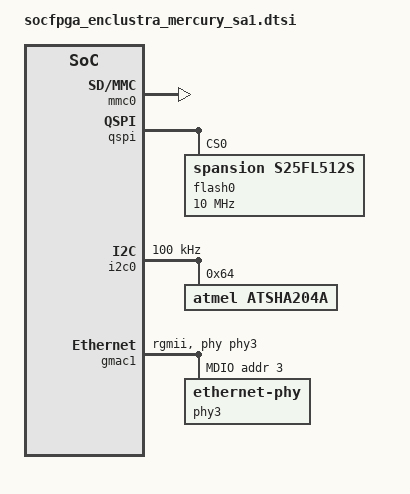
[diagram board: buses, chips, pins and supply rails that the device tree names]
/ {
	compatible = "altr,socfpga-cyclone5", "altr,socfpga";

	chosen {
		stdout-path = "serial0:115200n8";
	};
};

&osc1 {
	clock-frequency = <50000000>;
};

&l4_main_clk {
	u-boot,dm-pre-reloc;
};

&watchdog0 {
	status = "disabled";
};

&uart0 {
	clock-frequency = <100000000>;
	u-boot,dm-pre-reloc;
};

&mmc0 {
	u-boot,dm-pre-reloc;
	status = "okay";
};

&qspi {
	u-boot,dm-pre-reloc;
	status = "okay";

	flash0: s25fl512s@0 {
		u-boot,dm-pre-reloc;
		#address-cells = <1>;
		#size-cells = <1>;
		compatible = "spansion,s25fl512s", "jedec,spi-nor";
		reg = <0>;
		spi-max-frequency = <10000000>;

		page-size = <256>;
		block-size = <16>; /* 2^16, 64KB */
		read-delay = <4>;
		tshsl-ns = <50>;
		tsd2d-ns = <50>;
		tchsh-ns = <4>;
		tslch-ns = <4>;
	};
};

&i2c0 {
	status = "okay";
	clock-frequency = <100000>;

	atsha204a: atsha204a@64 {
		status = "okay";
		compatible = "atmel,atsha204a";
		reg = <0x64>;
	};
};

&gpio0 {
	u-boot,dm-pre-reloc;
	status = "okay";
};

&gpio1 {
	u-boot,dm-pre-reloc;
	status = "okay";
};

&gmac1 {
	status = "okay";
	phy-mode = "rgmii";

	rxd0-skew-ps = <420>;
	rxd1-skew-ps = <420>;
	rxd2-skew-ps = <420>;
	rxd3-skew-ps = <420>;
	rxdv-skew-ps = <420>;
	txd0-skew-ps = <420>;
	txd1-skew-ps = <420>;
	txd2-skew-ps = <420>;
	txd3-skew-ps = <420>;
	txen-skew-ps = <420>;
	rxc-skew-ps = <900>;
	txc-skew-ps = <900>;

	phy-handle = <&phy3>;
	mdio0 {
		#address-cells = <1>;
		#size-cells = <0>;
		compatible = "snps,dwmac-mdio";
		phy3: ethernet-phy@3 {
			reg = <3>;
		};
	};
};
